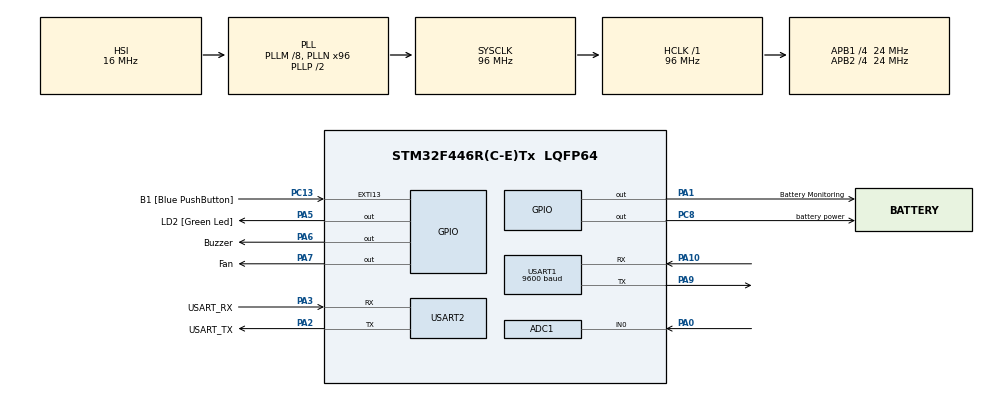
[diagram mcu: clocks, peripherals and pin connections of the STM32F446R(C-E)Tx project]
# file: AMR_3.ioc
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ADC1.Channel-2\#ChannelRegularConversion=ADC_CHANNEL_0
ADC1.ContinuousConvMode=ENABLE
ADC1.EnableAnalogWatchDog=false
ADC1.NbrOfConversionFlag=1
ADC1.Rank-2\#ChannelRegularConversion=1
ADC1.Resolution=ADC_RESOLUTION_12B
ADC1.SamplingTime-2\#ChannelRegularConversion=ADC_SAMPLETIME_15CYCLES
ADC1.master=1
FREERTOS.Tasks01=defaultTask,24,256,StartDefaultTask,Default,NULL,Dynamic,NULL,NULL;Task2_blinky,24,256,Task2_init,Default,NULL,Dynamic,NULL,NULL;Task3_PWM,24,256,Task3_init,Default,NULL,Dynamic,NULL,NULL;Task4,24,256,Task4_init,Default,NULL,Dynamic,NULL,NULL
FREERTOS.configMINIMAL_STACK_SIZE=256
FREERTOS.configUSE_NEWLIB_REENTRANT=1
Mcu.Family=STM32F4
Mcu.Name=STM32F446R(C-E)Tx
Mcu.Package=LQFP64
NVIC.ADC_IRQn=true\:5\:0\:false\:false\:true\:true\:true\:true\:true
NVIC.PriorityGroup=NVIC_PRIORITYGROUP_4
NVIC.TIM8_TRG_COM_TIM14_IRQn=true\:15\:0\:false\:false\:true\:false\:false\:true\:true
NVIC.TimeBase=TIM8_TRG_COM_TIM14_IRQn
NVIC.TimeBaseIP=TIM14
PA0-WKUP.Signal=ADCx_IN0
PA1.GPIO_Label=Battery Monitoring
PA1.Signal=GPIO_Output
PA10.Mode=Asynchronous
PA10.Signal=USART1_RX
PA13.GPIO_Label=TMS
PA13.Signal=SYS_JTMS-SWDIO
PA14.GPIO_Label=TCK
PA14.Signal=SYS_JTCK-SWCLK
PA2.GPIO_Label=USART_TX
PA2.Mode=Asynchronous
PA2.Signal=USART2_TX
PA3.GPIO_Label=USART_RX
PA3.Mode=Asynchronous
PA3.Signal=USART2_RX
PA5.GPIO_Label=LD2 [Green Led]
PA5.Signal=GPIO_Output
PA6.GPIO_Label=Buzzer
PA6.Signal=GPIO_Output
PA7.GPIO_Label=Fan
PA7.PinState=GPIO_PIN_SET
PA7.Signal=GPIO_Output
PA9.Mode=Asynchronous
PA9.Signal=USART1_TX
PC13.GPIO_Label=B1 [Blue PushButton]
PC13.GPIO_ModeDefaultEXTI=GPIO_MODE_IT_FALLING
PC13.Signal=GPXTI13
PC8.GPIO_Label=battery power
PC8.Signal=GPIO_Output
PH0-OSC_IN.Mode=HSE-External-Oscillator
PH0-OSC_IN.Signal=RCC_OSC_IN
PH1-OSC_OUT.Mode=HSE-External-Oscillator
PH1-OSC_OUT.Signal=RCC_OSC_OUT
ProjectManager.HeapSize=0x200
ProjectManager.StackSize=0x400
ProjectManager.TargetToolchain=STM32CubeIDE
RCC.AHBFreq_Value=96000000
RCC.APB1CLKDivider=RCC_HCLK_DIV4
RCC.APB1Freq_Value=24000000
RCC.APB1TimFreq_Value=48000000
RCC.APB2CLKDivider=RCC_HCLK_DIV4
RCC.APB2Freq_Value=24000000
RCC.APB2TimFreq_Value=48000000
RCC.CortexFreq_Value=96000000
RCC.FLatency-AdvancedSettings=FLASH_LATENCY_3
RCC.HCLKFreq_Value=96000000
RCC.HSE_VALUE=8000000
RCC.HSI_VALUE=16000000
RCC.LSE_VALUE=32768
RCC.PLLM=8
RCC.PLLN=96
RCC.SYSCLKFreq_VALUE=96000000
RCC.SYSCLKSource=RCC_SYSCLKSOURCE_PLLCLK
RCC.USBFreq_Value=96000000
RCC.VCOOutputFreq_Value=192000000
SH.ADCx_IN0.0=ADC1_IN0,IN0
USART1.BaudRate=9600
USART1.VirtualMode=VM_ASYNC
USART2.VirtualMode=VM_ASYNC
VP_FREERTOS_VS_CMSIS_V2.Mode=CMSIS_V2
VP_SYS_VS_tim14.Mode=TIM14
board=NUCLEO-F446RE

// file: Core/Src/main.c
/* USER CODE BEGIN Header */
/**
  ******************************************************************************
  * @file           : main.c
  * @brief          : Main program body
  ******************************************************************************
  * @attention
  *
  * Copyright (c) 2024 STMicroelectronics.
  * All rights reserved.
  *
  * This software is licensed under terms that can be found in the LICENSE file
  * in the root directory of this software component.
  * If no LICENSE file comes with this software, it is provided AS-IS.
  *
  ******************************************************************************
  */
/* USER CODE END Header */
#include "main.h"
#include "cmsis_os.h"

/* USER CODE BEGIN Includes */
#include <string.h>
#include <stdio.h>
#include <math.h>
#include "visEffect.h"
#include "ws2812b.h"
#include "i2c.h"
#include "MPU6050.h"
/* USER CODE END Includes */

 ADC_HandleTypeDef hadc1;

UART_HandleTypeDef huart1;
UART_HandleTypeDef huart2;

/* Definitions for defaultTask */
osThreadId_t defaultTaskHandle;
const osThreadAttr_t defaultTask_attributes = {
  .name = "defaultTask",
  .stack_size = 256 * 4,
  .priority = (osPriority_t) osPriorityNormal,
};
/* Definitions for Task2_blinky */
osThreadId_t Task2_blinkyHandle;
const osThreadAttr_t Task2_blinky_attributes = {
  .name = "Task2_blinky",
  .stack_size = 256 * 4,
  .priority = (osPriority_t) osPriorityNormal,
};
/* Definitions for Task3_PWM */
osThreadId_t Task3_PWMHandle;
const osThreadAttr_t Task3_PWM_attributes = {
  .name = "Task3_PWM",
  .stack_size = 256 * 4,
  .priority = (osPriority_t) osPriorityNormal,
};
/* Definitions for Task4 */
osThreadId_t Task4Handle;
const osThreadAttr_t Task4_attributes = {
  .name = "Task4",
  .stack_size = 256 * 4,
  .priority = (osPriority_t) osPriorityNormal,
};
/* USER CODE BEGIN PV */
WS2812_Struct ws2812b;

MPU_ConfigTypeDef myConfig;
ScaledData_Def meAccel;
char buffer[50];
char charbuffer[50];
uint8_t Cmd_End[3] = {0xFF, 0xFF, 0xFF};
/* USER CODE END PV */

void SystemClock_Config(void);
static void MX_GPIO_Init(void);
static void MX_USART2_UART_Init(void);
static void MX_USART1_UART_Init(void);
static void MX_ADC1_Init(void);
void StartDefaultTask(void *argument);
void Task2_init(void *argument);
void Task3_init(void *argument);
void Task4_init(void *argument);

/* USER CODE BEGIN PFP */
  // command end sequence

void NEXTION_SendString (char *ID, char *string)
{
	memset(charbuffer,'\0',50);
    sprintf (charbuffer, "%s.txt=\"%s\"", ID, string);
	HAL_UART_Transmit (&huart1,(uint8_t *) charbuffer, strlen(charbuffer), HAL_MAX_DELAY);
	HAL_UART_Transmit (&huart1, Cmd_End, 3, HAL_MAX_DELAY);
	HAL_UART_Transmit (&huart1,(uint8_t *) buffer, strlen(buffer), HAL_MAX_DELAY);
}
/* USER CODE END PFP */

/* USER CODE BEGIN 0 */

void send_task2 (void)
{

}
/* USER CODE END 0 */

int main(void)
{

  /* MCU Configuration--------------------------------------------------------*/

  /* Reset of all peripherals, Initializes the Flash interface and the Systick. */
  HAL_Init();

  /* Configure the system clock */
  SystemClock_Config();

  /* Initialize all configured peripherals */
  MX_GPIO_Init();
  MX_USART2_UART_Init();
  MX_USART1_UART_Init();
  MX_ADC1_Init();
  /* USER CODE BEGIN 2 */

  HAL_UART_Transmit (&huart1, (uint8_t*)"rest", 4, HAL_MAX_DELAY);
  HAL_UART_Transmit (&huart1, Cmd_End, 3, HAL_MAX_DELAY);

  i2c_init();

  myConfig.Accel_Full_Scale = AFS_SEL_4g;
  myConfig.ClockSource = Internal_8MHz;
  myConfig.CONFIG_DLPF = DLPF_184A_188G_Hz;
  myConfig.Sleep_Mode_Bit = 0;
  myConfig.Gyro_Full_Scale = FS_SEL_500;

  MPU6050_Config(&myConfig);

  visInit("GRB");

  /* USER CODE END 2 */

  /* Init scheduler */
  osKernelInitialize();

  /* Create the thread(s) */
  /* creation of defaultTask */
  defaultTaskHandle = osThreadNew(StartDefaultTask, NULL, &defaultTask_attributes);

  /* creation of Task2_blinky */
  Task2_blinkyHandle = osThreadNew(Task2_init, NULL, &Task2_blinky_attributes);

  /* creation of Task3_PWM */
  Task3_PWMHandle = osThreadNew(Task3_init, NULL, &Task3_PWM_attributes);

  /* creation of Task4 */
  Task4Handle = osThreadNew(Task4_init, NULL, &Task4_attributes);

  /* Start scheduler */
  osKernelStart();

  /* We should never get here as control is now taken by the scheduler */
  /* Infinite loop */
  while (1)
  {

  }
}

void SystemClock_Config(void)
{
  RCC_OscInitTypeDef RCC_OscInitStruct = {0};
  RCC_ClkInitTypeDef RCC_ClkInitStruct = {0};

  /** Configure the main internal regulator output voltage
  */
  __HAL_RCC_PWR_CLK_ENABLE();
  __HAL_PWR_VOLTAGESCALING_CONFIG(PWR_REGULATOR_VOLTAGE_SCALE3);

  /** Initializes the RCC Oscillators according to the specified parameters
  * in the RCC_OscInitTypeDef structure.
  */
  RCC_OscInitStruct.OscillatorType = RCC_OSCILLATORTYPE_HSI;
  RCC_OscInitStruct.HSIState = RCC_HSI_ON;
  RCC_OscInitStruct.HSICalibrationValue = RCC_HSICALIBRATION_DEFAULT;
  RCC_OscInitStruct.PLL.PLLState = RCC_PLL_ON;
  RCC_OscInitStruct.PLL.PLLSource = RCC_PLLSOURCE_HSI;
  RCC_OscInitStruct.PLL.PLLM = 8;
  RCC_OscInitStruct.PLL.PLLN = 96;
  RCC_OscInitStruct.PLL.PLLP = RCC_PLLP_DIV2;
  RCC_OscInitStruct.PLL.PLLQ = 2;
  RCC_OscInitStruct.PLL.PLLR = 2;
  if (HAL_RCC_OscConfig(&RCC_OscInitStruct) != HAL_OK)
  {
    Error_Handler();
  }

  /** Initializes the CPU, AHB and APB buses clocks
  */
  RCC_ClkInitStruct.ClockType = RCC_CLOCKTYPE_HCLK|RCC_CLOCKTYPE_SYSCLK
                              |RCC_CLOCKTYPE_PCLK1|RCC_CLOCKTYPE_PCLK2;
  RCC_ClkInitStruct.SYSCLKSource = RCC_SYSCLKSOURCE_PLLCLK;
  RCC_ClkInitStruct.AHBCLKDivider = RCC_SYSCLK_DIV1;
  RCC_ClkInitStruct.APB1CLKDivider = RCC_HCLK_DIV4;
  RCC_ClkInitStruct.APB2CLKDivider = RCC_HCLK_DIV4;

  if (HAL_RCC_ClockConfig(&RCC_ClkInitStruct, FLASH_LATENCY_3) != HAL_OK)
  {
    Error_Handler();
  }
}

static void MX_ADC1_Init(void)
{

  ADC_ChannelConfTypeDef sConfig = {0};

  /** Configure the global features of the ADC (Clock, Resolution, Data Alignment and number of conversion)
  */
  hadc1.Instance = ADC1;
  hadc1.Init.ClockPrescaler = ADC_CLOCK_SYNC_PCLK_DIV2;
  hadc1.Init.Resolution = ADC_RESOLUTION_12B;
  hadc1.Init.ScanConvMode = DISABLE;
  hadc1.Init.ContinuousConvMode = ENABLE;
  hadc1.Init.DiscontinuousConvMode = DISABLE;
  hadc1.Init.ExternalTrigConvEdge = ADC_EXTERNALTRIGCONVEDGE_NONE;
  hadc1.Init.ExternalTrigConv = ADC_SOFTWARE_START;
  hadc1.Init.DataAlign = ADC_DATAALIGN_RIGHT;
  hadc1.Init.NbrOfConversion = 1;
  hadc1.Init.DMAContinuousRequests = DISABLE;
  hadc1.Init.EOCSelection = ADC_EOC_SINGLE_CONV;
  if (HAL_ADC_Init(&hadc1) != HAL_OK)
  {
    Error_Handler();
  }

  /** Configure for the selected ADC regular channel its corresponding rank in the sequencer and its sample time.
  */
  sConfig.Channel = ADC_CHANNEL_0;
  sConfig.Rank = 1;
  sConfig.SamplingTime = ADC_SAMPLETIME_15CYCLES;
  if (HAL_ADC_ConfigChannel(&hadc1, &sConfig) != HAL_OK)
  {
    Error_Handler();
  }

}

static void MX_USART1_UART_Init(void)
{

  huart1.Instance = USART1;
  huart1.Init.BaudRate = 9600;
  huart1.Init.WordLength = UART_WORDLENGTH_8B;
  huart1.Init.StopBits = UART_STOPBITS_1;
  huart1.Init.Parity = UART_PARITY_NONE;
  huart1.Init.Mode = UART_MODE_TX_RX;
  huart1.Init.HwFlowCtl = UART_HWCONTROL_NONE;
  huart1.Init.OverSampling = UART_OVERSAMPLING_16;
  if (HAL_UART_Init(&huart1) != HAL_OK)
  {
    Error_Handler();
  }

}

static void MX_USART2_UART_Init(void)
{

  huart2.Instance = USART2;
  huart2.Init.BaudRate = 115200;
  huart2.Init.WordLength = UART_WORDLENGTH_8B;
  huart2.Init.StopBits = UART_STOPBITS_1;
  huart2.Init.Parity = UART_PARITY_NONE;
  huart2.Init.Mode = UART_MODE_TX_RX;
  huart2.Init.HwFlowCtl = UART_HWCONTROL_NONE;
  huart2.Init.OverSampling = UART_OVERSAMPLING_16;
  if (HAL_UART_Init(&huart2) != HAL_OK)
  {
    Error_Handler();
  }

}

static void MX_GPIO_Init(void)
{
  GPIO_InitTypeDef GPIO_InitStruct = {0};

  /* GPIO Ports Clock Enable */
  __HAL_RCC_GPIOC_CLK_ENABLE();
  __HAL_RCC_GPIOH_CLK_ENABLE();
  __HAL_RCC_GPIOA_CLK_ENABLE();

  /*Configure GPIO pin Output Level */
  HAL_GPIO_WritePin(GPIOA, Battery_Monitoring_Pin|LD2_Pin|Buzzer_Pin, GPIO_PIN_RESET);

  /*Configure GPIO pin Output Level */
  HAL_GPIO_WritePin(Fan_GPIO_Port, Fan_Pin, GPIO_PIN_SET);

  /*Configure GPIO pin Output Level */
  HAL_GPIO_WritePin(battery_power_GPIO_Port, battery_power_Pin, GPIO_PIN_RESET);

  /*Configure GPIO pin : B1_Pin */
  GPIO_InitStruct.Pin = B1_Pin;
  GPIO_InitStruct.Mode = GPIO_MODE_IT_FALLING;
  GPIO_InitStruct.Pull = GPIO_NOPULL;
  HAL_GPIO_Init(B1_GPIO_Port, &GPIO_InitStruct);

  /*Configure GPIO pins : Battery_Monitoring_Pin LD2_Pin Buzzer_Pin Fan_Pin */
  GPIO_InitStruct.Pin = Battery_Monitoring_Pin|LD2_Pin|Buzzer_Pin|Fan_Pin;
  GPIO_InitStruct.Mode = GPIO_MODE_OUTPUT_PP;
  GPIO_InitStruct.Pull = GPIO_NOPULL;
  GPIO_InitStruct.Speed = GPIO_SPEED_FREQ_LOW;
  HAL_GPIO_Init(GPIOA, &GPIO_InitStruct);

  /*Configure GPIO pin : battery_power_Pin */
  GPIO_InitStruct.Pin = battery_power_Pin;
  GPIO_InitStruct.Mode = GPIO_MODE_OUTPUT_PP;
  GPIO_InitStruct.Pull = GPIO_NOPULL;
  GPIO_InitStruct.Speed = GPIO_SPEED_FREQ_LOW;
  HAL_GPIO_Init(battery_power_GPIO_Port, &GPIO_InitStruct);

}

void StartDefaultTask(void *argument)
{
  /* USER CODE BEGIN 5 */
  /* Infinite loop */
  for(;;)
  {
	 visHandle();
  }

  /* USER CODE END 5 */
}

void Task2_init(void *argument)
{
  /* USER CODE BEGIN Task2_init */
  /* Infinite loop */
  for(;;)
  {
	  NEXTION_SendString("t0", "12:00");
	  osDelay(50);

	  NEXTION_SendString("t2", "ID: AMR@123");
	  osDelay(70);
	  // Prepare the message for fan status
      memset(buffer,'\0',50);
	  sprintf(buffer, "Fan Status: %d \n\r",HAL_GPIO_ReadPin(GPIOA, GPIO_PIN_7));
//	  HAL_UART_Transmit(&huart2, (uint8_t*)buffer, strlen(buffer), HAL_MAX_DELAY);
	  NEXTION_SendString("t1", buffer);
	  osDelay(50);

	  NEXTION_SendString("t4", "LED strip running");
      osDelay(50);

      MPU6050_Get_Accel_Scale(&meAccel);
      memset(buffer,'\0',50);
      sprintf(buffer, "ACC:x=%.2f,y=%.2f,z=%.2f", meAccel.x, meAccel.y, meAccel.z);
//    "ACC:x=%.2f,y=%.2f,z=%.2f\n\r"
//    HAL_UART_Transmit(&huart2, (uint8_t*)buffer, strlen(buffer), HAL_MAX_DELAY);
      NEXTION_SendString("t5", buffer);
      osDelay(70);
  }
  /* USER CODE END Task2_init */
}

void Task3_init(void *argument)
{
  /* USER CODE BEGIN Task3_init */
  /* Infinite loop */
  for(;;)
  {
  	 //Toggle the green LED
	  HAL_GPIO_TogglePin(GPIOA, GPIO_PIN_5);
	  HAL_GPIO_WritePin(GPIOC, GPIO_PIN_8, GPIO_PIN_SET);
	  osDelay(200);
  }
  /* USER CODE END Task3_init */
}

void Task4_init(void *argument)
{
  /* USER CODE BEGIN Task4_init */

  /* Infinite loop */
  for(;;)
  {
	  uint16_t adcValue;
	  float voltage;
	  char msg[100];
	  char fanStatus = '0'; // Initialize fan status to '0'
	  char rxData;

	      if (HAL_UART_Receive(&huart2, (uint8_t*)&rxData, 1, 10) == HAL_OK)
	      {
	          if (rxData == '1' || rxData == '0')
	          {
	               fanStatus = rxData;  // Update fan status based on received data

	               // Control the relay based on fanStatus
	               if (fanStatus == '1')
	               {
	                    HAL_GPIO_WritePin(GPIOA, GPIO_PIN_7, GPIO_PIN_SET);    // Turn on the fan (activate relay)
	               }
	               else
	               {
	                    HAL_GPIO_WritePin(GPIOA, GPIO_PIN_7, GPIO_PIN_RESET);  // Turn off the fan (deactivate relay)
	               }
	          }
	      }

	      //Start ADC Conversion
	      HAL_ADC_Start(&hadc1);

	  	  // Poll for conversion completion
	      if (HAL_ADC_PollForConversion(&hadc1, HAL_MAX_DELAY) == HAL_OK)
	  	  {
	  		  // Get ADC value
	  		  adcValue = HAL_ADC_GetValue(&hadc1);

	  		  // Convert ADC value to voltage
	  		  voltage = ((float)(adcValue * 3.3 )/ 4095.0);

	  		  // Check if voltage is below the threshold
	  		  if (voltage < 1.5)
	  	      {
	  			    // Activate the buzzer and print a message
	  			    // Turn on the buzzer
	                HAL_GPIO_WritePin(GPIOA, GPIO_PIN_6, GPIO_PIN_SET);
	                memset(buffer,'\0',50);
	                sprintf(buffer, "battery Low: %.2f V", voltage);
	                NEXTION_SendString("t3", buffer);
	                osDelay(500);
	                HAL_GPIO_WritePin(GPIOB, GPIO_PIN_1, GPIO_PIN_RESET);
	               	memset(buffer,'\0',50);
	                NEXTION_SendString("t3","Battery Charged");
	                osDelay(50);
	  		  }
	  		  else
	  		  {
	  			    // Turn off the buzzer
	                HAL_GPIO_WritePin(GPIOB, GPIO_PIN_1, GPIO_PIN_RESET);
	                memset(buffer,'\0',50);
	                NEXTION_SendString("t3","Battery Charged");
	                osDelay(50);
	          }

	  		// Prepare the message with ADC value, voltage, and fan status
	  		sprintf(msg, "ADC Value: %d, Voltage: %.2f V, Fan Status: %c, ACC:x=%.2f,y=%.2f,z=%.2f\r\n",
	  	    adcValue, voltage, fanStatus, meAccel.x, meAccel.y, meAccel.z);

	  		// Send the message via UART
	  		HAL_UART_Transmit(&huart2, (uint8_t*)msg, strlen(msg), HAL_MAX_DELAY);
	  	  }
		 //Stop ADC Conversion
		 HAL_ADC_Stop(&hadc1);

		 osDelay(500);
  }
  /* USER CODE END Task4_init */
}

void HAL_TIM_PeriodElapsedCallback(TIM_HandleTypeDef *htim)
{
  if (htim->Instance == TIM14) {
    HAL_IncTick();
  }
}

void Error_Handler(void)
{
  __disable_irq();
  while (1)
  {
  }
}
